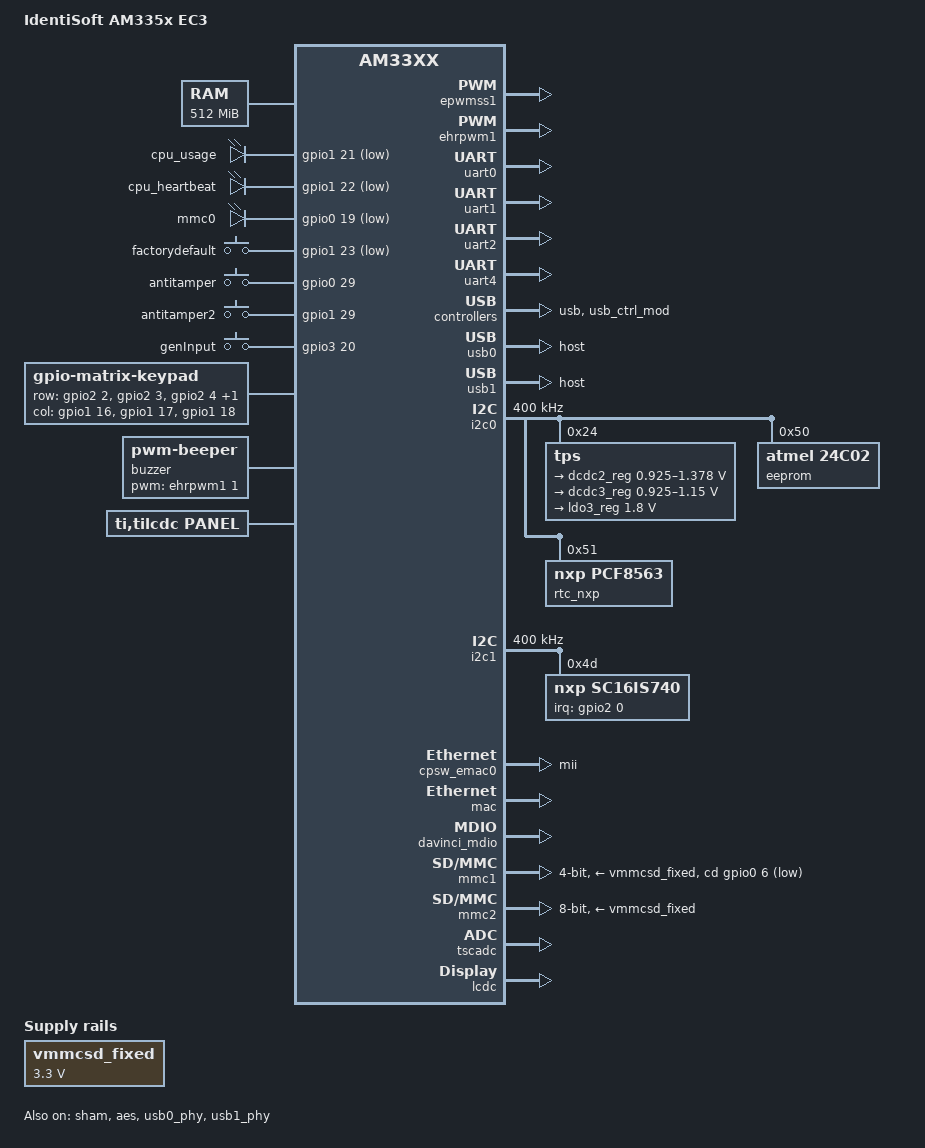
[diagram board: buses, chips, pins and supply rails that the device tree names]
/*
 * Copyright (C) 2014 IdentiSoft Pty (Ltd) http://www.identisoft.net/
 *
 * This program is free software; you can redistribute it and/or modify
 * it under the terms of the GNU General Public License version 2 as
 * published by the Free Software Foundation.
 */
/dts-v1/;

#include "am33xx.dtsi"
#include <dt-bindings/interrupt-controller/irq.h>

/ {
	model = "IdentiSoft AM335x EC3";
	compatible = "ti,am33xx";

	cpus {
		cpu@0 {
			cpu0-supply = <&dcdc2_reg>;
		};
	};

	memory {
		device_type = "memory";
		reg = <0x80000000 0x20000000>; /* 512 MB */
	};

	leds {
		compatible = "gpio-leds";
		pinctrl-names = "default";
		pinctrl-0 = <&user_leds_pin>;

		cpu_usage {
			gpios = <&gpio1 21 GPIO_ACTIVE_LOW>;
			linux,default-trigger = "cpu0";
			default-state = "off";
		};

		cpu_heartbeat {
			gpios = <&gpio1 22 GPIO_ACTIVE_LOW>;
			linux,default-trigger = "heartbeat";
			default-state = "off";
		};

		mmc0 {
			gpios = <&gpio0 19 GPIO_ACTIVE_LOW>;
			linux,default-trigger = "mmc0";
			default-state = "off";
		};
	};

	factoryDefault {
		compatible = "gpio-keys";
		pinctrl-names = "default";
		pinctrl-0 = <&button1_pin>;

		factorydefault {
			gpios = <&gpio1 23 GPIO_ACTIVE_LOW>;
			linux,code = <70>;
			debounce-interval = <200>;
		};
	};

	antiTamper {
		compatible = "gpio-keys";
		pinctrl-names = "default";
		pinctrl-0 = <&button2_pin>;

		antitamper {
			gpios = <&gpio0 29 GPIO_ACTIVE_HIGH>;
			linux,code = <65>;
			debounce-interval = <200>;
		};
	};

	antiTamper2 {
		compatible = "gpio-keys";
		pinctrl-names = "default";
		pinctrl-0 = <&button3_pin>;

		antitamper2 {
			gpios = <&gpio1 29 GPIO_ACTIVE_HIGH>;
			linux,code = <66>;
			debounce-interval = <200>;
		};
	};

	genInput {
		compatible = "gpio-keys";
		pinctrl-names = "default";
		pinctrl-0 = <&button4_pin>;

		genInput {
			gpios = <&gpio3 20 GPIO_ACTIVE_HIGH>;
			linux,code = <73>;
			debounce-interval = <200>;
		};
	};


	keypad {
		compatible = "gpio-matrix-keypad";
		linux,no-autorepeat;
		debounce-delay-ms = <10>;
		col-scan-delay-us = <20>;
		/* Pull down resistors*/
		row-gpios = <&gpio2 2 GPIO_ACTIVE_HIGH    /* Row 1 */
				         &gpio2 3 GPIO_ACTIVE_HIGH    /* Row 2 */
				         &gpio2 4 GPIO_ACTIVE_HIGH	  /* Row 3 */
				         &gpio2 5 GPIO_ACTIVE_HIGH>;  /* Row 4 */

		col-gpios = <&gpio1 16 GPIO_ACTIVE_HIGH   /* Col 1 */
				         &gpio1 17 GPIO_ACTIVE_HIGH	  /* Col 2 */
								 &gpio1 18 GPIO_ACTIVE_HIGH>; /* Col 3 */
								 /* 0xRRCCKKKK*/
		linux,keymap = <0x00000002		/* 1 */
										0x00010003		/* 2 */
										0x00020004		/* 3 */
										0x01000005		/* 4 */
										0x01010006		/* 5 */
										0x01020007		/* 6 */
										0x02000008		/* 7 */
										0x02010009		/* 8 */
										0x0202000A		/* 9 */
										0x0300000E		/* * (BACKSPACE)*/
										0x0301000B		/* 0 */
										0x0302001C>; 	/* # (ENTER)*/
	};

	buzzer {
		compatible = "pwm-beeper";
		pinctrl-names = "default";
		pinctrl-0 = <&buzzer_pin>;
		pwms = <&ehrpwm1 1 250000 0>;
	};

	panel {
		compatible = "ti,tilcdc,panel";
		pinctrl-names = "default";
		pinctrl-0 = <&lcd_pins>;
		status = "okay";
		panel-info {
			ac-bias           = <255>;
			ac-bias-intrpt    = <0>;
			dma-burst-sz      = <16>;
			bpp               = <24>;
			fdd               = <0x80>;
			sync-edge         = <0>;
			sync-ctrl         = <1>;
			raster-order      = <0>;
			fifo-th           = <0>;
			invert-pxl-clk;
		};
		/* HX8257A */
		display-timings {
      480x272 {
				hactive         = <480>;
				vactive         = <272>;
				hback-porch     = <2>;
				hfront-porch    = <2>;
				hsync-len       = <41>;
				vback-porch     = <2>;
				vfront-porch    = <2>;
				vsync-len       = <10>;
				clock-frequency = <9000000>;
				hsync-active    = <0>;
				vsync-active    = <0>;
			};
		};
	};

	bandgap {
		reg = <0x44e10448 0x4 0x44e1044C 0x4>;
		compatible = "ti,omap4430-bandgap";
	};

	vmmcsd_fixed: fixedregulator@0 {
		compatible = "regulator-fixed";
		regulator-name = "vmmcsd_fixed";
		regulator-min-microvolt = <3300000>;
		regulator-max-microvolt = <3300000>;
	};
};

&am33xx_pinmux {
	pinctrl-names = "default";
	pinctrl-0 = <&extcon_pins>;

	user_leds_pin: pinmux_user_leds_pin {
		pinctrl-single,pins = <
			0x54	(PIN_OUTPUT_PULLUP | MUX_MODE7)			/* gpmc_a5.gpio1_21 */
			0x58	(PIN_OUTPUT_PULLDOWN | MUX_MODE7)		/* gpmc_a6.gpio1_22 */
			0x1b0	(PIN_OUTPUT_PULLUP | MUX_MODE7)			/* event_intr0.gpio0_19 */
		>;
	};

	button1_pin: pinmux_button1_pin {
		pinctrl-single,pins = <
			0x5C (PIN_INPUT_PULLUP | MUX_MODE7)	/* gpmc_a6.gpio1_23 */
		>;
	};

	button2_pin: pinmux_button2_pin {
		pinctrl-single,pins = <
			0x144 (PIN_INPUT_PULLUP | MUX_MODE7)	/* rmii1_refclk.gpio0_29 */
		>;
	};

	button3_pin: pinmux_button3_pin {
		pinctrl-single,pins = <
			0x7c	(PIN_INPUT_PULLUP | MUX_MODE7)	/* gpmc_csn0.gpio1_29 */
		>;
	};

	button4_pin: pinmux_button4_pin {
		pinctrl-single,pins = <
			0x1a8 (PIN_INPUT_PULLUP | MUX_MODE7)	/* mcasp0_axr1.gpio3_20 */
		>;
	};

	buzzer_pin: pinmux_buzzer_pin {
		pinctrl-single,pins = <
			0x4c (PIN_OUTPUT_PULLUP | MUX_MODE6)	/* gpmc_a3.ehrpwm1b */
		>;
	};

	lcd_pins: pinmux_lcd_pins {
		pinctrl-single,pins = <
			0x20 (PIN_OUTPUT | MUX_MODE1)		/* gpmc_ad8.lcd_data23 */
			0x24 (PIN_OUTPUT | MUX_MODE1)		/* gpmc_ad9.lcd_data22 */
			0x28 (PIN_OUTPUT | MUX_MODE1)		/* gpmc_ad10.lcd_data21 */
			0x2c (PIN_OUTPUT | MUX_MODE1)		/* gpmc_ad11.lcd_data20 */
			0x30 (PIN_OUTPUT | MUX_MODE1)		/* gpmc_ad12.lcd_data19 */
			0x34 (PIN_OUTPUT | MUX_MODE1)		/* gpmc_ad13.lcd_data18 */
			0x38 (PIN_OUTPUT | MUX_MODE1)		/* gpmc_ad14.lcd_data17 */
			0x3c (PIN_OUTPUT | MUX_MODE1)		/* gpmc_ad15.lcd_data16 */
			0xa0 (PIN_OUTPUT | MUX_MODE0)		/* lcd_data0.lcd_data0 */
			0xa4 (PIN_OUTPUT | MUX_MODE0)		/* lcd_data1.lcd_data1 */
			0xa8 (PIN_OUTPUT | MUX_MODE0)		/* lcd_data2.lcd_data2 */
			0xac (PIN_OUTPUT | MUX_MODE0)		/* lcd_data3.lcd_data3 */
			0xb0 (PIN_OUTPUT | MUX_MODE0)		/* lcd_data4.lcd_data4 */
			0xb4 (PIN_OUTPUT | MUX_MODE0)		/* lcd_data5.lcd_data5 */
			0xb8 (PIN_OUTPUT | MUX_MODE0)		/* lcd_data6.lcd_data6 */
			0xbc (PIN_OUTPUT | MUX_MODE0)		/* lcd_data7.lcd_data7 */
			0xc0 (PIN_OUTPUT | MUX_MODE0)		/* lcd_data8.lcd_data8 */
			0xc4 (PIN_OUTPUT | MUX_MODE0)		/* lcd_data9.lcd_data9 */
			0xc8 (PIN_OUTPUT | MUX_MODE0)		/* lcd_data10.lcd_data10 */
			0xcc (PIN_OUTPUT | MUX_MODE0)		/* lcd_data11.lcd_data11 */
			0xd0 (PIN_OUTPUT | MUX_MODE0)		/* lcd_data12.lcd_data12 */
			0xd4 (PIN_OUTPUT | MUX_MODE0)		/* lcd_data13.lcd_data13 */
			0xd8 (PIN_OUTPUT | MUX_MODE0)		/* lcd_data14.lcd_data14 */
			0xdc (PIN_OUTPUT | MUX_MODE0)		/* lcd_data15.lcd_data15 */
			0xe0 (PIN_OUTPUT | MUX_MODE0)		/* lcd_vsync.lcd_vsync */
			0xe4 (PIN_OUTPUT | MUX_MODE0)		/* lcd_hsync.lcd_hsync */
			0xe8 (PIN_OUTPUT | MUX_MODE0)		/* lcd_pclk.lcd_pclk */
			0xec (PIN_OUTPUT | MUX_MODE0)		/* lcd_ac_bias_en.lcd_ac_bias_en */
		>;
	};

	extcon_pins: pinmux_extcon_pins { /* External Connectors */
		pinctrl-single,pins = <
			0x40	(PIN_INPUT_PULLUP | MUX_MODE7)	/* gpmc_a0.gpio1_16 */
			0x44	(PIN_INPUT_PULLUP | MUX_MODE7)	/* gpmc_a1.gpio1_17 */
			0x48	(PIN_INPUT_PULLUP | MUX_MODE7)	/* gpmc_a2.gpio1_18 */
			0x50	(PIN_INPUT_PULLUP | MUX_MODE7)	/* gpmc_a4.gpio1_20 */
			0x60	(PIN_INPUT_PULLUP | MUX_MODE7)	/* gpmc_a8.gpio1_24 */
			0x64	(PIN_INPUT_PULLUP | MUX_MODE7)	/* gpmc_a9.gpio1_25 */
			0x68	(PIN_INPUT_PULLUP | MUX_MODE7)	/* gpmc_a10.gpio1_26 */
			0x6C	(PIN_INPUT_PULLUP | MUX_MODE7)	/* gpmc_a11.gpio1_27 */
			0x78	(PIN_INPUT_PULLUP | MUX_MODE7)	/* gpmc_ben1.gpio1_28 */

			0x90	(PIN_INPUT_PULLUP | MUX_MODE7)	/* gpmc_advn_ale.gpio2_2 */
			0x94	(PIN_INPUT_PULLUP | MUX_MODE7)	/* gpmc_oen_ren.gpio2_3 */
			0x98	(PIN_INPUT_PULLUP | MUX_MODE7)	/* gpmc_wen.gpio2_4 */
			0x9c	(PIN_INPUT_PULLUP | MUX_MODE7)	/* gpmc_be0n_cle.gpio2_5 */

			0x178	(PIN_INPUT_PULLUP | MUX_MODE7)	/* uart1_ctsn.gpio0_12			(i2c2_sda, dcan0_tx) */
			0x17c	(PIN_INPUT_PULLUP | MUX_MODE7)	/* uart1_rtsn.gp100_13			(i2c2_scl, dcan0_rx) */

			0x190	(PIN_INPUT_PULLUP | MUX_MODE7)	/* mcasp0_aclkx.gpio3_14		(mcasp0_aclkx) */
			0x194	(PIN_INPUT_PULLUP | MUX_MODE7)	/* mcasp0_fsx.gpio3_15			(mcasp0_fsx) */
			0x198	(PIN_INPUT_PULLUP | MUX_MODE7)	/* mcasp0_axr0.gpio3_16			(mcasp0_axr0) */
			0x19c	(PIN_INPUT_PULLUP | MUX_MODE7)	/* mcasp0_ahclkr.gpio3_17		(mcasp0_ahclkr) */
			0x1a0	(PIN_INPUT_PULLUP | MUX_MODE7)	/* mcasp0_aclkr.gpio3_18		(mcasp0_aclkr) */
			0x1a4	(PIN_INPUT_PULLUP | MUX_MODE7)	/* mcasp0_fsr.gpio3_19			(mcasp0_fsr) */
			//0x1a8	(PIN_INPUT_PULLUP | MUX_MODE7)	/* mcasp0_axr1.gpio3_20			(mcasp0_axr1) */
		>;
	};

	i2c0_pins: pinmux_i2c0_pins {
		pinctrl-single,pins = <
			0x188 (PIN_INPUT_PULLUP | MUX_MODE0)	/* i2c0_sda.i2c0_sda */
			0x18c (PIN_INPUT_PULLUP | MUX_MODE0)	/* i2c0_scl.i2c0_scl */
		>;
	};

	i2c1_pins: pinmux_i2c1_pins {
		pinctrl-single,pins = <
			0x158 (PIN_INPUT_PULLUP | MUX_MODE2)	/* spi0_d1.i2c1_scl */
			0x15C (PIN_INPUT_PULLUP | MUX_MODE2)	/* spi0_cs0.i2c1_sda */
		>;
	};

	uart0_pins: pinmux_uart0_pins {
		pinctrl-single,pins = <
			0x170 (PIN_INPUT_PULLUP | MUX_MODE0)		/* uart0_rxd.uart0_rxd */
			0x174 (PIN_OUTPUT_PULLDOWN | MUX_MODE0)	/* uart0_txd.uart0_txd */
		>;
	};

	uart1_pins: pinmux_uart1_pins {
		pinctrl-single,pins = <
			0x180 (PIN_INPUT_PULLUP | MUX_MODE0)		/* uart1_rxd.uart1_rxd */
			0x184 (PIN_OUTPUT_PULLDOWN | MUX_MODE0)	/* uart1_txd.uart1_txd */
		>;
	};

	uart2_pins: pinmux_uart2_pins {
		pinctrl-single,pins = <
			0x150	(PIN_INPUT_PULLUP | MUX_MODE1)		/* spi0_sclk.uart2_rxd */
			0x154	(PIN_OUTPUT_PULLDOWN | MUX_MODE1)	/* spi0_d0.uart2_txd */
		>;
	};

	uart4_pins: pinmux_uart4_pins {
		pinctrl-single,pins = <
			0x70	(PIN_INPUT_PULLUP | MUX_MODE6)		/* gpmc_wait0.uart4_rxd */
			0x74	(PIN_OUTPUT_PULLDOWN | MUX_MODE6)	/* gpmc_wpn.uart4_txd */
		>;
	};


	cpsw_default: cpsw_default {
		pinctrl-single,pins = <
			/* Slave 1 */
			0x108 (PIN_INPUT_PULLUP | MUX_MODE0)	/* mii1_col.mii1_col */
			0x10C (PIN_INPUT_PULLUP | MUX_MODE0)	/* mii1_crs.mii1_crs */
			0x110 (PIN_INPUT_PULLUP | MUX_MODE0)	/* mii1_rxerr.mii1_rxerr */
			0x114 (PIN_OUTPUT_PULLDOWN | MUX_MODE0)	/* mii1_txen.mii1_txen */
			0x118 (PIN_INPUT_PULLUP | MUX_MODE0)		/* mii1_rxdv.mii1_rxdv */
			0x11c (PIN_OUTPUT_PULLDOWN | MUX_MODE0)	/* mii1_txd3.mii1_txd3 */
			0x120 (PIN_OUTPUT_PULLDOWN | MUX_MODE0)	/* mii1_txd2.mii1_txd2 */
			0x124 (PIN_OUTPUT_PULLDOWN | MUX_MODE0)	/* mii1_txd1.mii1_txd1 */
			0x128 (PIN_OUTPUT_PULLDOWN | MUX_MODE0)	/* mii1_txd0.mii1_txd0 */
			0x12c (PIN_INPUT_PULLUP | MUX_MODE0)	/* mii1_txclk.mii1_txclk */
			0x130 (PIN_INPUT_PULLUP | MUX_MODE0)	/* mii1_rxclk.mii1_rxclk */
			0x134 (PIN_INPUT_PULLUP | MUX_MODE0)	/* mii1_rxd3.mii1_rxd3 */
			0x138 (PIN_INPUT_PULLUP | MUX_MODE0)	/* mii1_rxd2.mii1_rxd2 */
			0x13c (PIN_INPUT_PULLUP | MUX_MODE0)	/* mii1_rxd1.mii1_rxd1 */
			0x140 (PIN_INPUT_PULLUP | MUX_MODE0)	/* mii1_rxd0.mii1_rxd0 */
		>;
	};

	cpsw_sleep: cpsw_sleep {
		pinctrl-single,pins = <
			/* Slave 1 reset value */
			0x108 (PIN_INPUT_PULLDOWN | MUX_MODE7)
			0x10C (PIN_INPUT_PULLDOWN | MUX_MODE7)
			0x110 (PIN_INPUT_PULLDOWN | MUX_MODE7)
			0x114 (PIN_INPUT_PULLDOWN | MUX_MODE7)
			0x118 (PIN_INPUT_PULLDOWN | MUX_MODE7)
			0x11c (PIN_INPUT_PULLDOWN | MUX_MODE7)
			0x120 (PIN_INPUT_PULLDOWN | MUX_MODE7)
			0x124 (PIN_INPUT_PULLDOWN | MUX_MODE7)
			0x128 (PIN_INPUT_PULLDOWN | MUX_MODE7)
			0x12c (PIN_INPUT_PULLDOWN | MUX_MODE7)
			0x130 (PIN_INPUT_PULLDOWN | MUX_MODE7)
			0x134 (PIN_INPUT_PULLDOWN | MUX_MODE7)
			0x138 (PIN_INPUT_PULLDOWN | MUX_MODE7)
			0x13c (PIN_INPUT_PULLDOWN | MUX_MODE7)
			0x140 (PIN_INPUT_PULLDOWN | MUX_MODE7)
		>;
	};

	davinci_mdio_default: davinci_mdio_default {
		pinctrl-single,pins = <
			/* MDIO */
			0x148 (PIN_INPUT_PULLUP | SLEWCTRL_FAST | MUX_MODE0)	/* mdio_data.mdio_data */
			0x14c (PIN_OUTPUT_PULLUP | MUX_MODE0)									/* mdio_clk.mdio_clk */
		>;
	};

	davinci_mdio_sleep: davinci_mdio_sleep {
		pinctrl-single,pins = <
			/* MDIO reset value */
			0x148 (PIN_INPUT_PULLDOWN | MUX_MODE7)
			0x14c (PIN_INPUT_PULLDOWN | MUX_MODE7)
		>;
	};

	mmc1_pins: pinmux_mmc1_pins {
		pinctrl-single,pins = <
			0x160 (PIN_INPUT | MUX_MODE7)		/* spi0_cs1.gpio0_6 */
		>;
	};

	emmc_pins: pinmux_emmc_pins {
		pinctrl-single,pins = <
			0x00 (PIN_INPUT_PULLUP | MUX_MODE1)		/* gpmc_ad0.mmc1_dat0 */
			0x04 (PIN_INPUT_PULLUP | MUX_MODE1)		/* gpmc_ad0.mmc1_dat1 */
			0x08 (PIN_INPUT_PULLUP | MUX_MODE1)		/* gpmc_ad0.mmc1_dat2 */
			0x0c (PIN_INPUT_PULLUP | MUX_MODE1)		/* gpmc_ad0.mmc1_dat3 */
			0x10 (PIN_INPUT_PULLUP | MUX_MODE1)		/* gpmc_ad0.mmc1_dat4 */
			0x14 (PIN_INPUT_PULLUP | MUX_MODE1)		/* gpmc_ad0.mmc1_dat5 */
			0x18 (PIN_INPUT_PULLUP | MUX_MODE1)		/* gpmc_ad0.mmc1_dat6 */
			0x1c (PIN_INPUT_PULLUP | MUX_MODE1)		/* gpmc_ad0.mmc1_dat7 */
			0x80 (PIN_INPUT_PULLUP | MUX_MODE2)		/* gpmc_csn1.mmc1_clk */
			0x84 (PIN_INPUT_PULLUP | MUX_MODE2)		/* gpmc_csn2.mmc1_cmd */
		>;
	};
};

&sham {
	status = "okay";
};

&aes {
	status = "okay";
};

&prcm_clocks {
	sc16is7xx_clk: sc16is7xx_clk {
		compatible = "fixed-clock";
		#clock-cells = <0>;
		clock-frequency = <11059200>;
	};
};

&epwmss1 {
	status = "okay";
};

&ehrpwm1 {
	status = "okay";
};

/* Console */
&uart0 {
	pinctrl-names = "default";
	pinctrl-0 = <&uart0_pins>;
	status = "okay";
};

/* This is the SBus port */
/* Used RS485 mode to suppress the TX echo */
/* Used the buzzer pin for rts which is muxed for pwm */
&uart1 {
	pinctrl-names = "default";
	pinctrl-0 = <&uart1_pins>;
	linux,rs485-enabled-at-boot-time;
	rs485-rts-delay = <0 0>;
	rs485-rts-active-high;
	rts-gpio = <&gpio1 19 GPIO_ACTIVE_HIGH>;
	status = "okay";
};

/* External connector */
&uart2 {
	pinctrl-names = "default";
	pinctrl-0 = <&uart2_pins>;
	status = "okay";
};

/* LCD connector */
&uart4 {
	pinctrl-names = "default";
	pinctrl-0 = <&uart4_pins>;
	status = "okay";
};

&usb {
	status = "okay";
};

&usb_ctrl_mod {
	status = "okay";
};

&usb0_phy {
	status = "okay";
};

&usb1_phy {
	status = "okay";
};

&usb0 {
	status = "okay";
	dr_mode = "host";
};

&usb1 {
	status = "okay";
	dr_mode = "host";
};

&cppi41dma  {
	status = "okay";
};

&i2c0 {
	pinctrl-names = "default";
	pinctrl-0 = <&i2c0_pins>;
	clock-frequency = <400000>;
	status = "okay";

	tps: tps@24 {
		reg = <0x24>;
	};

	eeprom: eeprom@50 {
		compatible = "atmel,24c02";
		reg = <0x50>;
		pagesize = <8>;
	};

	rtc_nxp: rtc@51 {
		compatible = "nxp,pcf8563";
		reg = <0x51>;
	};
};

&i2c1 {
	pinctrl-names = "default";
	pinctrl-0 = <&i2c1_pins>;
	clock-frequency = <400000>;
	status = "okay";

	sc16is740: sc16is740@4D {
		compatible = "nxp,sc16is740";
		reg = <0x4D>;
		clocks = <&sc16is7xx_clk>;
		interrupt-parent = <&gpio2>;
		interrupts = <0 IRQ_TYPE_EDGE_FALLING>;
	};
};

/include/ "tps65217.dtsi"

&tps {
	regulators {
		dcdc1_reg: regulator@0 {
			regulator-always-on;
		};

		dcdc2_reg: regulator@1 {
			/* VDD_MPU voltage limits 0.95V - 1.325V with +/-4% tolerance */
			regulator-name = "vdd_mpu";
			regulator-min-microvolt = <925000>;
			regulator-max-microvolt = <1378000>;
			regulator-boot-on;
			regulator-always-on;
		};

		dcdc3_reg: regulator@2 {
			/* VDD_CORE voltage limits 0.95V - 1.1V with +/-4% tolerance */
			regulator-name = "vdd_core";
			regulator-min-microvolt = <925000>;
			regulator-max-microvolt = <1150000>;
			regulator-boot-on;
			regulator-always-on;
		};

		ldo1_reg: regulator@3 {
			regulator-always-on;
		};

		ldo2_reg: regulator@4 {
			regulator-always-on;
		};

		ldo3_reg: regulator@5 {
			regulator-min-microvolt = <1800000>;
			regulator-max-microvolt = <1800000>;
			regulator-always-on;
		};

		ldo4_reg: regulator@6 {
			regulator-always-on;
		};
	};
};

&cpsw_emac0 {
	phy_id = <&davinci_mdio>, <1>;
	phy-mode = "mii";
};

&mac {
	pinctrl-names = "default", "sleep";
	pinctrl-0 = <&cpsw_default>;
	pinctrl-1 = <&cpsw_sleep>;
	slaves = <1>;
	status = "okay";
};

&davinci_mdio {
	pinctrl-names = "default", "sleep";
	pinctrl-0 = <&davinci_mdio_default>;
	pinctrl-1 = <&davinci_mdio_sleep>;
	status = "okay";
};

&mmc1 {
	pinctrl-names = "default";
	pinctrl-0 = <&mmc1_pins>;
	status = "okay";
	bus-width = <0x4>;
	cd-gpios = <&gpio0 6 GPIO_ACTIVE_HIGH>;
	cd-inverted;
	vmmc-supply = <&vmmcsd_fixed>;
};

&mmc2 {
	pinctrl-names = "default";
	pinctrl-0 = <&emmc_pins>;
	status = "okay";
	bus-width = <0x8>;
	vmmc-supply = <&vmmcsd_fixed>;
	ti,non-removable;
};


&tscadc {
	status = "okay";
	tsc {
		ti,wires = <4>;
		ti,x-plate-resistance = <200>;
		ti,coordiante-readouts = <5>;
		ti,wire-config = <0x00 0x11 0x22 0x33>;
	};

	adc {
		ti,adc-channels = <4 5 6 7>;
	};
};

&lcdc {
	status = "okay";
};

